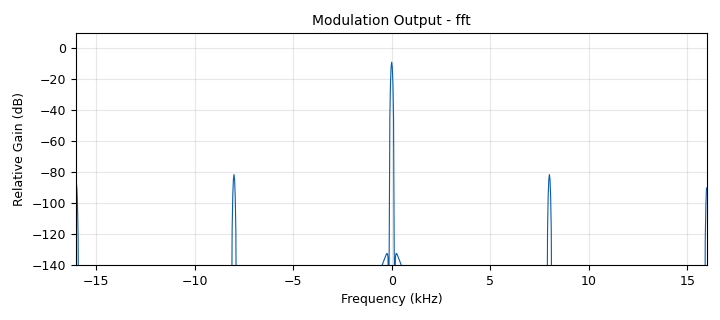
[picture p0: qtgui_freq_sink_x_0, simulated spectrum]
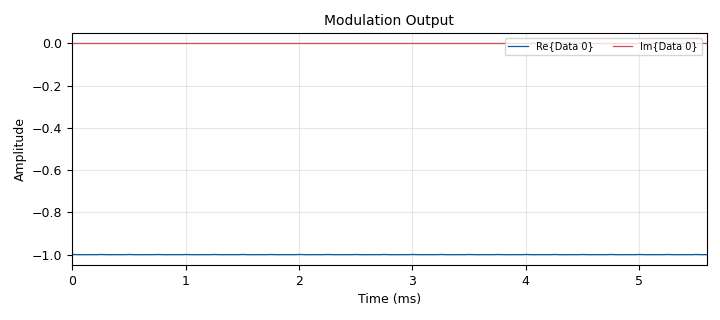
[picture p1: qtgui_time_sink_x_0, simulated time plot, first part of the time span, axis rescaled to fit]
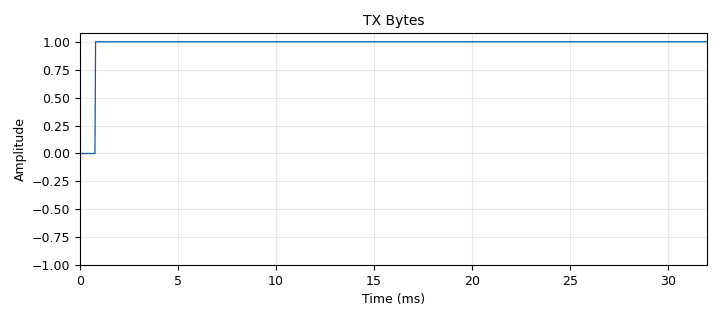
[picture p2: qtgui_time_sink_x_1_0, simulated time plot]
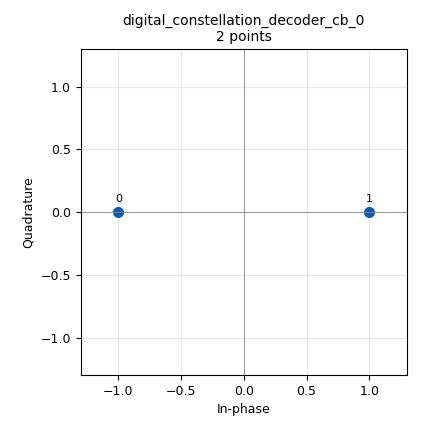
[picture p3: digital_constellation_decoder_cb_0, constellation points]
options:
  parameters:
    generate_options: qt_gui
    id: bpsk_test
    output_language: python
    title: bpsk
  states: {}

blocks:
- name: BPSK
  id: variable_constellation
  parameters:
    precision: '8'
    type: bpsk
  states: {}
- name: samp_rate
  id: variable
  parameters:
    value: '32000'
  states: {}
- name: analog_const_source_x_0
  id: analog_const_source_x
  parameters:
    const: '0'
    type: float
  states: {}
- name: analog_random_source_x_0
  id: analog_random_source_x
  parameters:
    max: '255'
    min: '0'
    num_samps: '10000'
    repeat: 'True'
    type: byte
  states: {state: disabled}
- name: analog_sig_source_x_0
  id: analog_sig_source_x
  parameters:
    amp: '1'
    freq: '16'
    offset: '0'
    phase: '0'
    samp_rate: samp_rate
    type: byte
    waveform: analog.GR_SQR_WAVE
  states: {}
- name: blocks_char_to_float_0
  id: blocks_char_to_float
  parameters:
    scale: '1'
  states: {}
- name: blocks_char_to_float_0_0
  id: blocks_char_to_float
  parameters:
    scale: '1'
  states: {}
- name: blocks_file_sink_0
  id: blocks_file_sink
  parameters:
    file: tx_bytes
    type: byte
  states: {}
- name: blocks_file_sink_1
  id: blocks_file_sink
  parameters:
    file: rx_bits
    type: byte
  states: {}
- name: blocks_float_to_complex_0
  id: blocks_float_to_complex
  parameters: {}
  states: {}
- name: blocks_throttle_0
  id: blocks_throttle
  parameters:
    samples_per_second: samp_rate
    type: complex
  states: {}
- name: digital_constellation_decoder_cb_0
  id: digital_constellation_decoder_cb
  parameters:
    constellation: BPSK
  states: {}
- name: digital_constellation_modulator_0
  id: digital_constellation_modulator
  parameters:
    constellation: BPSK
    differential: 'True'
    excess_bw: '0.35'
    samples_per_symbol: '4'
  states: {}
- name: qtgui_freq_sink_x_0
  id: qtgui_freq_sink_x
  parameters:
    bw: samp_rate
    fc: '0'
    fftsize: '1024'
    name: '"Modulation Output - fft"'
    type: complex
    update_time: '0.01'
  states: {}
- name: qtgui_time_sink_x_0
  id: qtgui_time_sink_x
  parameters:
    name: '"Modulation Output"'
    size: '1024'
    srate: samp_rate
    type: complex
  states: {}
- name: qtgui_time_sink_x_0_0
  id: qtgui_time_sink_x
  parameters:
    name: '"RX Bits"'
    size: '1024'
    srate: samp_rate
    type: float
  states: {}
- name: qtgui_time_sink_x_1
  id: qtgui_time_sink_x
  parameters:
    name: '"Soft Symbols"'
    size: '1024'
    srate: samp_rate
    type: float
  states: {}
- name: qtgui_time_sink_x_1_0
  id: qtgui_time_sink_x
  parameters:
    name: '"TX Bytes"'
    size: '1024'
    srate: samp_rate
    type: float
  states: {}
- name: satellites_bpsk_demodulator_0
  id: satellites_bpsk_demodulator
  parameters:
    baudrate: '4000'
    differential: 'False'
    f_offset: '0'
    iq: 'True'
    manchester: 'False'
    samp_rate: samp_rate
  states: {}

connections:
- [analog_const_source_x_0, '0', blocks_float_to_complex_0, '1']
- [analog_sig_source_x_0, '0', blocks_char_to_float_0, '0']
- [analog_sig_source_x_0, '0', blocks_file_sink_0, '0']
- [analog_sig_source_x_0, '0', digital_constellation_modulator_0, '0']
- [blocks_char_to_float_0, '0', qtgui_time_sink_x_1_0, '0']
- [blocks_char_to_float_0_0, '0', qtgui_time_sink_x_0_0, '0']
- [blocks_float_to_complex_0, '0', digital_constellation_decoder_cb_0, '0']
- [blocks_throttle_0, '0', qtgui_freq_sink_x_0, '0']
- [blocks_throttle_0, '0', qtgui_time_sink_x_0, '0']
- [blocks_throttle_0, '0', satellites_bpsk_demodulator_0, '0']
- [digital_constellation_decoder_cb_0, '0', blocks_char_to_float_0_0, '0']
- [digital_constellation_decoder_cb_0, '0', blocks_file_sink_1, '0']
- [digital_constellation_modulator_0, '0', blocks_throttle_0, '0']
- [satellites_bpsk_demodulator_0, '0', blocks_float_to_complex_0, '0']
- [satellites_bpsk_demodulator_0, '0', qtgui_time_sink_x_1, '0']

metadata:
  file_format: 1
